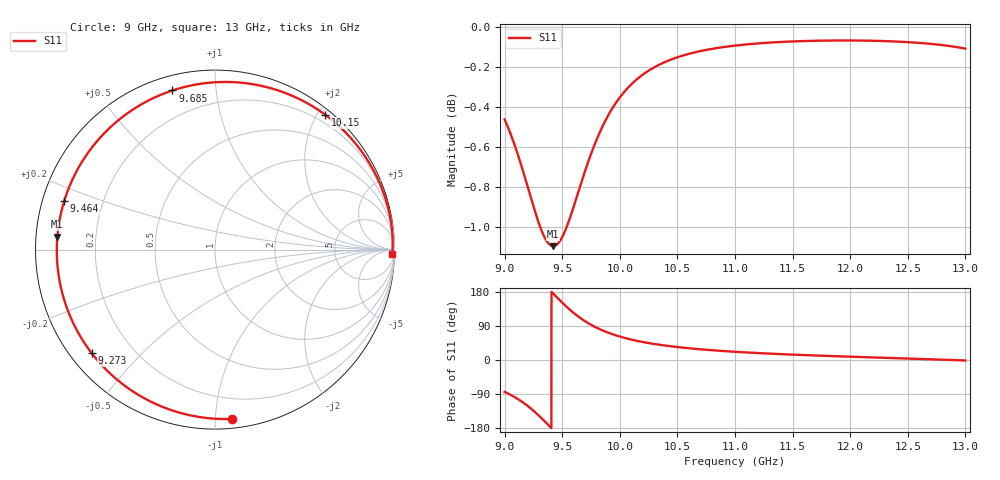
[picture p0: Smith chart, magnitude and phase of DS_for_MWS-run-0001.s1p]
! TOUCHSTONE file generated by CST DESIGN STUDIO
! Date and time: Tue Feb  4 18:28:18 2025
! Project name: C:\Work\MatlabApps\UnitCellOptimizationMatlab\CST\unitcell.cst
! Tree item: Tasks\Sweep1\SPara1\S-Parameters
! Header version: 2024
! Port assignment regex: !\s*Touchstone port\s*([0-9]+)\s*=\s*(CST MWS port|CST DES external port|CST DES block port)\s*(.+)\s* \(\"(.*)\"\)(\s*mode\s*([0-9]+))?.*
! Touchstone port assignment:
! Touchstone port 1 = CST DES external port 1 ("")
# GHz S MA R 50
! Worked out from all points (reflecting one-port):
!   4001 points, 9 GHz to 13 GHz, reference 50 ohm
!   lowest |S11| = -1.1 dB at 9.422 GHz (marker M1), VSWR 15.85, Z = 3.16 + j2.06 ohm
!   phase of S11 starts at -84 deg and turns -277 deg over the sweep
!   S11 on the Smith chart (normalised r, x): 9 GHz: 0.06, -1.11; 9.273 GHz: 0.06, -0.36; 9.464 GHz: 0.06, +0.16; 9.685 GHz: 0.07, +0.76; 10.15 GHz: 0.08, +2.11; 13 GHz: 36, -67
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9  0.9482 -84.1
9.081  0.9353 -96.8
9.15  0.9223 -110.0
9.213  0.9093 -124.3
9.273  0.8973 -139.9
9.315  0.8901 -151.8
9.352  0.8852 -162.9
9.387  0.8823 -173.8
9.422  0.8813 175.3
9.464  0.8827 162.2
9.5  0.8859 151.4
9.546  0.8922 138.2
9.591  0.9 126.3
9.637  0.9087 115.3
9.685  0.9178 105.0
9.755  0.9303 92.1
9.839  0.9429 79.5
9.917  0.9523 70.1
10  0.9603 61.9
10.147  0.9703 50.7
10.307  0.9774 41.9
10.5  0.9828 34.2
10.723  0.9866 27.6
11  0.9894 21.7
11.5  0.9918 14.2
12  0.9924 8.7
12.5  0.9914 3.9
13  0.9877 -1.3
